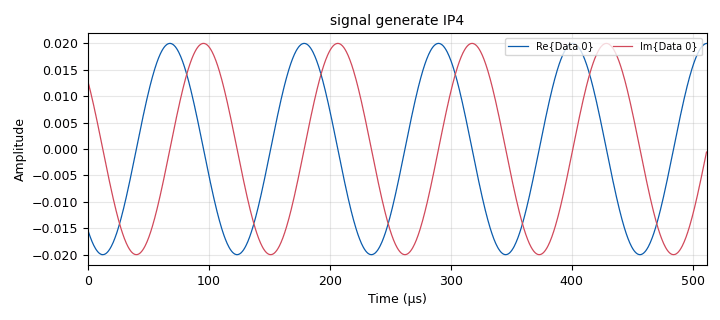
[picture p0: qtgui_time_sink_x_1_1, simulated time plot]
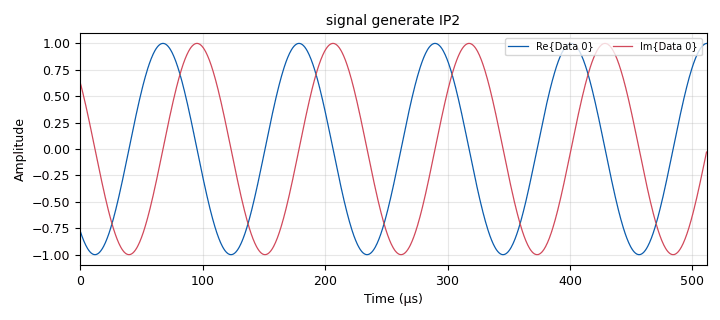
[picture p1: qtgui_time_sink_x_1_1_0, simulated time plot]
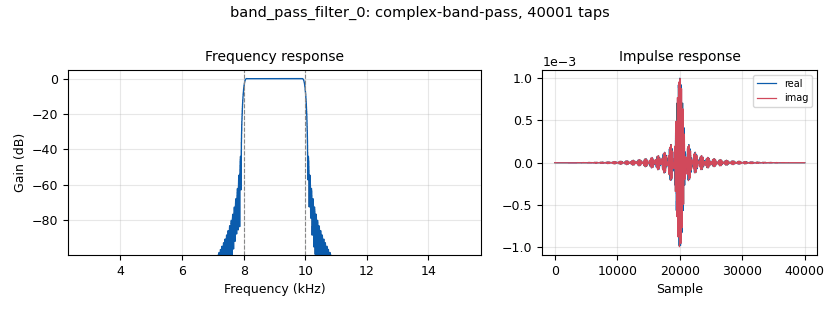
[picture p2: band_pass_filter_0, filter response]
options:
  parameters:
    author: iar
    generate_options: qt_gui
    id: frequency_simple
    output_language: python
    title: frequency
  states: {}

blocks:
- name: B200_63
  id: variable
  parameters:
    value: '"serial=314FA63"'
  states: {}
- name: B200_74
  id: variable
  parameters:
    value: '"serial=314FA74"'
  states: {}
- name: IP2
  id: variable
  parameters:
    value: '"addr=192.168.10.2"'
  states: {}
- name: IP3
  id: variable
  parameters:
    value: '"addr=192.168.10.3"'
  states: {}
- name: IP4
  id: variable
  parameters:
    value: '"addr=192.168.10.4"'
  states: {}
- name: bandwidth
  id: variable
  parameters:
    value: 22e6
  states: {}
- name: frequency
  id: variable_qtgui_range
  parameters:
    start: '0'
    step: '100'
    stop: 6e6
    value: '9000'
  states: {}
- name: frequency_offset
  id: variable_qtgui_range
  parameters:
    label: frequency offset
    start: '0'
    step: '0.1'
    stop: '1000'
    value: '0'
  states: {}
- name: phase
  id: variable_qtgui_range
  parameters:
    label: phase
    start: '0'
    step: '0.1'
    stop: 2*math.pi
    value: '0'
  states: {}
- name: samp_rate
  id: variable_qtgui_range
  parameters:
    label: sample rate
    start: '0'
    step: 1e3
    stop: 3e6
    value: 2e6
  states: {}
- name: Attacker
  id: qtgui_tab_widget
  parameters:
    label0: Time
    label1: Frequency
    num_tabs: '2'
  states: {}
- name: RX
  id: qtgui_tab_widget
  parameters:
    label0: Time
    label1: Frequency
    num_tabs: '2'
  states: {}
- name: TX
  id: qtgui_tab_widget
  parameters:
    label0: Time
    num_tabs: '1'
  states: {}
- name: analog_agc_xx_0
  id: analog_agc_xx
  parameters:
    gain: '5'
    max_gain: '65536'
    rate: '1e-4'
    reference: '1.0'
    type: complex
  states: {}
- name: analog_sig_source_x_0_1_0
  id: analog_sig_source_x
  parameters:
    amp: '1'
    freq: frequency
    offset: '0'
    phase: '0'
    samp_rate: samp_rate
    type: complex
    waveform: analog.GR_COS_WAVE
  states: {}
- name: analog_sig_source_x_0_1_0_0
  id: analog_sig_source_x
  parameters:
    amp: '0.02'
    freq: frequency
    offset: '0'
    phase: '0'
    samp_rate: samp_rate
    type: complex
    waveform: analog.GR_COS_WAVE
  states: {}
- name: band_pass_filter_0
  id: band_pass_filter
  parameters:
    decim: '1'
    gain: '1'
    high_cutoff_freq: '10000'
    low_cutoff_freq: '8000'
    samp_rate: samp_rate
    type: fir_filter_ccc
    width: '100'
    win: window.WIN_HANN
  states: {}
- name: blocks_freqshift_cc_0
  id: blocks_freqshift_cc
  parameters:
    freq: frequency_offset
    sample_rate: samp_rate
  states: {}
- name: import_0
  id: import
  parameters:
    imports: import math
  states: {}
- name: qtgui_freq_sink_x_0
  id: qtgui_freq_sink_x
  parameters:
    bw: samp_rate
    ctrlpanel: 'True'
    fc: '0'
    fftsize: '1024'
    gui_hint: RX@1
    name: '"signal detect IP3"'
    showports: 'True'
    type: complex
  states: {}
- name: qtgui_freq_sink_x_0_0
  id: qtgui_freq_sink_x
  parameters:
    bw: samp_rate
    ctrlpanel: 'True'
    fc: '0'
    fftsize: '4096'
    gui_hint: RX@1
    name: '"signal detect IP3 after filter"'
    showports: 'True'
    type: complex
    wintype: window.WIN_HANN
  states: {}
- name: qtgui_sink_x_0
  id: qtgui_sink_x
  parameters:
    bw: samp_rate
    fc: '0'
    fftsize: '1024'
    gui_hint: RX@1
    showrf: 'True'
    type: complex
  states: {}
- name: qtgui_time_sink_x_0
  id: qtgui_time_sink_x
  parameters:
    autoscale: 'True'
    ctrlpanel: 'True'
    gui_hint: RX@0
    label1: ''
    label2: ''
    name: '"signal detect IP3"'
    size: '1024'
    srate: samp_rate
    type: complex
  states: {}
- name: qtgui_time_sink_x_0_0
  id: qtgui_time_sink_x
  parameters:
    autoscale: 'True'
    ctrlpanel: 'True'
    gui_hint: RX@0
    label1: ''
    label2: ''
    name: '"signal detect IP3 after filter"'
    size: '1024'
    srate: samp_rate
    type: complex
  states: {}
- name: qtgui_time_sink_x_1_1
  id: qtgui_time_sink_x
  parameters:
    autoscale: 'True'
    ctrlpanel: 'True'
    gui_hint: Attacker@0
    label1: ''
    label2: ''
    name: '"signal generate IP4"'
    size: '1024'
    srate: samp_rate
    type: complex
  states: {}
- name: qtgui_time_sink_x_1_1_0
  id: qtgui_time_sink_x
  parameters:
    autoscale: 'True'
    ctrlpanel: 'True'
    gui_hint: TX@0
    label1: ''
    label2: ''
    name: '"signal generate IP2"'
    size: '1024'
    srate: samp_rate
    type: complex
  states: {}
- name: uhd_usrp_sink_0_1
  id: uhd_usrp_sink
  parameters:
    ant0: TX/RX
    bw0: bandwidth
    center_freq0: 1.5e9
    clock_rate: '0.0'
    dev_addr: IP4
    dev_args: '""'
    gain0: '50'
    len_tag_name: ''
    samp_rate: samp_rate
    sync: pc_clock
    type: fc32
  states: {}
- name: uhd_usrp_sink_0_1_0
  id: uhd_usrp_sink
  parameters:
    ant0: TX/RX
    bw0: bandwidth
    center_freq0: 1.5e9
    clock_rate: '0.0'
    dev_addr: IP2
    dev_args: '""'
    gain0: '10'
    len_tag_name: ''
    samp_rate: samp_rate
    sync: pc_clock
    type: fc32
  states: {}
- name: uhd_usrp_source_1
  id: uhd_usrp_source
  parameters:
    ant0: '"TX/RX"'
    bw0: bandwidth
    center_freq0: 1.5e9
    dev_addr: IP3
    dev_args: '""'
    gain0: '50'
    samp_rate: samp_rate
    sync: pc_clock
    type: fc32
  states: {}

connections:
- [analog_agc_xx_0, '0', blocks_freqshift_cc_0, '0']
- [analog_sig_source_x_0_1_0, '0', qtgui_time_sink_x_1_1_0, '0']
- [analog_sig_source_x_0_1_0, '0', uhd_usrp_sink_0_1_0, '0']
- [analog_sig_source_x_0_1_0_0, '0', analog_agc_xx_0, '0']
- [analog_sig_source_x_0_1_0_0, '0', qtgui_time_sink_x_1_1, '0']
- [band_pass_filter_0, '0', qtgui_freq_sink_x_0_0, '0']
- [band_pass_filter_0, '0', qtgui_time_sink_x_0_0, '0']
- [blocks_freqshift_cc_0, '0', uhd_usrp_sink_0_1, '0']
- [uhd_usrp_source_1, '0', band_pass_filter_0, '0']
- [uhd_usrp_source_1, '0', qtgui_freq_sink_x_0, '0']
- [uhd_usrp_source_1, '0', qtgui_sink_x_0, '0']
- [uhd_usrp_source_1, '0', qtgui_time_sink_x_0, '0']

metadata:
  file_format: 1
